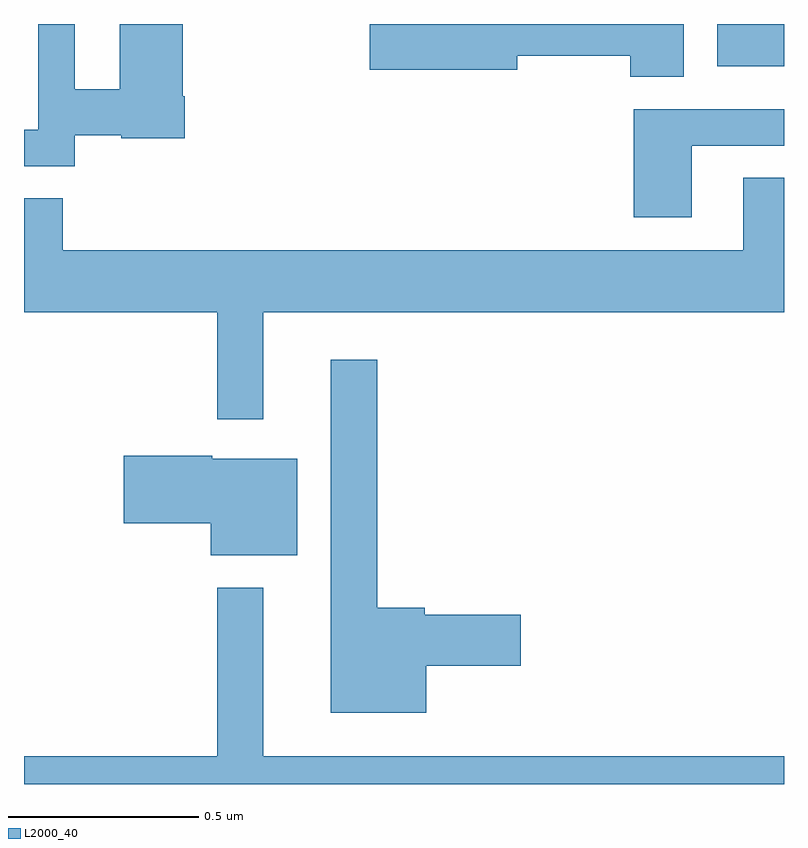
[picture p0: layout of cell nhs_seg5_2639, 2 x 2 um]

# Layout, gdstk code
import gdstk
lib = gdstk.Library(unit=1e-6, precision=1e-09)
def R(c, l, rs):  # rectangles x0, y0, x1, y1
    for r in rs: c.add(gdstk.rectangle(r[:2], r[2:], *l))
def P(c, l, *ps):  # polygons
    for p in ps: c.add(gdstk.Polygon(p, *l))
L2000_40 = (2000, 40)

nhs_seg5_2639 = lib.new_cell('nhs_seg5_2639')
R(nhs_seg5_2639, L2000_40, [(147.824,910.688,148,910.799)])
P(nhs_seg5_2639, L2000_40, [(146.133,910.506),(146.256,910.506),(146.256,910.498),(146.423,910.498),(146.423,910.609),(146.418,910.609),(146.418,910.799),(146.252,910.799),(146.252,910.627),(146.133,910.627),(146.133,910.799),(146.037,910.799),(146.037,910.521),(146,910.521),(146,910.425),(146.133,910.425)],
  [(147.736,910.799),(146.91,910.799),(146.91,910.678),(147.298,910.678),(147.298,910.715),(147.595,910.715),(147.595,910.66),(147.736,910.66)],
  [(147.757,910.479),(148,910.479),(148,910.575),(147.605,910.575),(147.605,910.29),(147.757,910.29)],
  [(146.629,910.04),(148,910.04),(148,910.394),(147.893,910.394),(147.893,910.204),(146.102,910.204),(146.102,910.34),(146,910.34),(146,910.04),(146.508,910.04),(146.508,909.759),(146.629,909.759)],
  [(147.058,909.11),(147.307,909.11),(147.307,909.245),(147.054,909.245),(147.054,909.263),(146.929,909.263),(146.929,909.916),(146.807,909.916),(146.807,908.987),(147.058,908.987)],
  [(146.719,909.655),(146.496,909.655),(146.496,909.663),(146.262,909.663),(146.262,909.485),(146.492,909.485),(146.492,909.401),(146.719,909.401)],
  [(148,908.872),(146.629,908.872),(146.629,909.316),(146.508,909.316),(146.508,908.872),(146,908.872),(146,908.799),(148,908.799)])

lib.write_gds('nhs_seg5_2639.gds')
